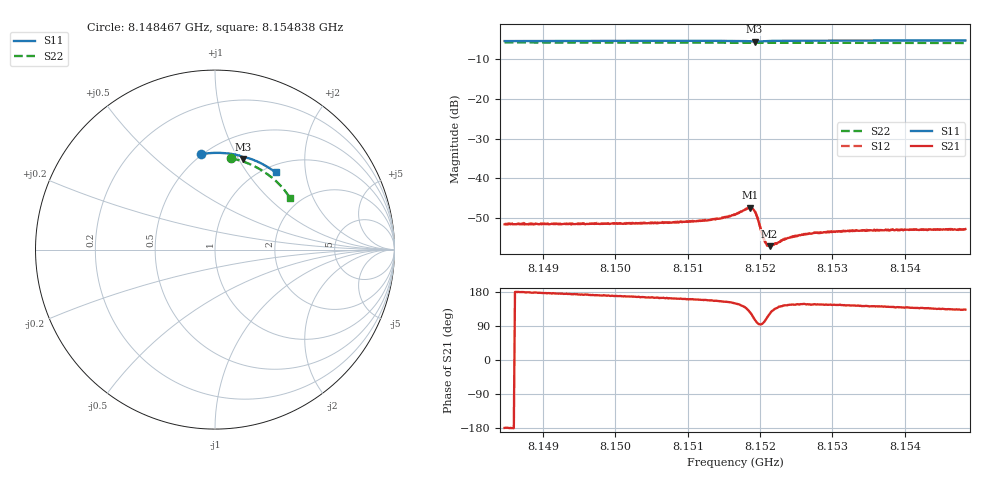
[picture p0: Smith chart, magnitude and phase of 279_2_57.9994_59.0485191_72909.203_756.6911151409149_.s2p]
#  HZ  S  RI  R  50.00
! Rohde & Schwarz Vector Network Analyzer
! Rohde-Schwarz,ZNB20-2Port,1311601062101988,3.16
! Created: UTC 3/21/2024, 1:02:48 AM
! freq[Hz]  re:S11  im:S11  re:S21  im:S21  re:S12  im:S12  re:S22  im:S22
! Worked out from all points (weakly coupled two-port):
!   401 points, 8.148467 GHz to 8.154838 GHz, reference 50 ohm
!   highest |S21| = -47.47 dB at 8.15186 GHz (marker M1); lowest = -57.2 dB at 8.15213 GHz (marker M2)
!   lowest |S11| = -5.5 dB at 8.151923 GHz (marker M3), VSWR 3.25, Z = 37.3 + j52.4 ohm
!   |S11| at or under -10 dB: nowhere
!   |S22| runs from -5.9 to -5.7 dB; largest |S21 - S12| = 0.00013
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8.1484674e9  -0.0773 0.5314  -0.00262 -3.6e-05  -0.00266 -2.47e-05  0.0892 0.5081
8.1495345e9  -0.00319 0.5389  -0.00262 0.000324  -0.00265 0.000373  0.1565 0.4904
8.1506016e9  0.0713 0.5358  -0.00261 0.000772  -0.0026 0.000786  0.2204 0.464
8.1512705e9  0.1181 0.5283  -0.00271 0.0011  -0.00276 0.00115  0.2584 0.443
8.1514616e9  0.1318 0.5251  -0.00282 0.00131  -0.00283 0.00137  0.2688 0.4366
8.1516527e9  0.146 0.5204  -0.003 0.00176  -0.00297 0.00181  0.279 0.4297
8.151812e9  0.1574 0.5127  -0.00292 0.00284  -0.00293 0.00292  0.2874 0.4236
8.1518597e9  0.1591 0.5089  -0.00248 0.00343  -0.00247 0.00349  0.2897 0.4218
8.1518916e9  0.1588 0.5064  -0.00191 0.0037  -0.00186 0.00376  0.2913 0.4205
8.1519234e9  0.1575 0.5052  -0.00114 0.00367  -0.00111 0.00375  0.2928 0.4193
8.1519553e9  0.1561 0.506  -0.000513 0.00327  -0.000435 0.0033  0.2945 0.4183
8.1520349e9  0.1587 0.5108  -0.000211 0.00189  -0.000191 0.00188  0.2986 0.4156
8.1520668e9  0.1611 0.512  -0.00036 0.00152  -0.000366 0.00157  0.3001 0.4144
8.1520986e9  0.164 0.5126  -0.000544 0.00129  -0.000574 0.00138  0.3017 0.4132
8.1521305e9  0.1668 0.5129  -0.000722 0.00118  -0.000724 0.00121  0.3036 0.412
8.1521623e9  0.1695 0.5127  -0.000913 0.00112  -0.000856 0.00113  0.3052 0.4107
8.1523216e9  0.182 0.5105  -0.00135 0.000985  -0.00137 0.001  0.3134 0.4044
8.1524172e9  0.1889 0.5085  -0.00148 0.001  -0.00147 0.00105  0.3179 0.4005
8.1527198e9  0.2099 0.5012  -0.00168 0.00111  -0.00167 0.00113  0.3328 0.3879
8.1531816e9  0.2398 0.4888  -0.00174 0.00127  -0.00173 0.00128  0.3541 0.3676
8.1537868e9  0.2774 0.4695  -0.00169 0.00141  -0.00165 0.00142  0.3804 0.3394
8.154838e9  0.3379 0.4298  -0.00155 0.00167  -0.00152 0.00169  0.42 0.286
